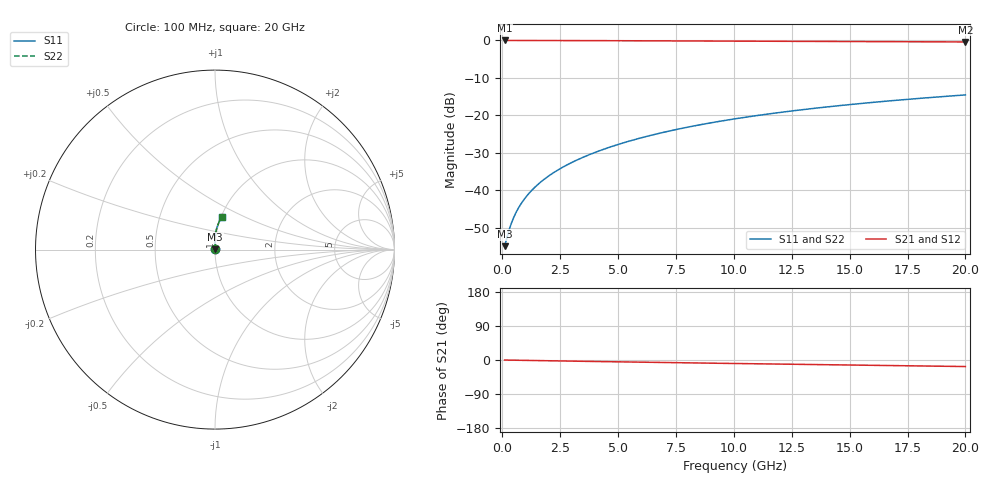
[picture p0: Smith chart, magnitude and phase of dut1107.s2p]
! Touchstone file exported from HFSS 2024.1.0
!  File:  C:/UserFiles/LocalFiles/RDL_TSV_Batchsim/temp_RDL_bottom_1107_1780054253.aedt
!  Generated:  07:33:26 PM May 29, 2026
!  Design:  RDL_bottom
!  Project:  temp_RDL_bottom_1107_1780054253
!  Setup:  Setup1
!  Solution:  Sweep
! Variables:
!  dtsv = 10.80580581um
!  hbump = 3um
!  htsv = 57.31um
!  ldown = 205.86um
!  lrdl = 100um
!  p = 40
!  p1 = 53.44um
!  rhole = 1um
!  t = 450um
!  tdown = 2.3um
!  trdl = 3.915915916um
!  wdown = 26.44um
!  wrdl = 20um
# GHz S MA R 50.000000
! Terminal data exported
! Port[1] = RDL1_T1
! Port[2] = RDL1_T2
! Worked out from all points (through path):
!   200 points, 100 MHz to 20 GHz, reference 50 ohm
!   highest |S21| = -0.01 dB at 100 MHz (marker M1); lowest = -0.4 dB at 20 GHz (marker M2)
!   group delay of S21, straight-line fit = 2.36 ps
!   lowest |S11| = -54.9 dB at 100 MHz (marker M3), VSWR 1.00, Z = 50.2 + j0.0853 ohm
!   |S11| at or under -10 dB: start of sweep to end of sweep
!   |S22| runs from -54.9 to -14.5 dB; largest |S21 - S12| = 3.1e-15
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0.1  0.001809 28.1  0.9984 -0.1  0.9984 -0.1  0.001809 28.1
! Gamma 0 0 0 0
! Port Impedance 50 0 50 0
0.3  0.003012 55.9  0.9983 -0.3  0.9983 -0.3  0.003012 55.9
0.4  0.003712 62.0  0.9982 -0.4  0.9982 -0.4  0.003712 62.0
0.5  0.004423 66.2  0.9981 -0.5  0.9981 -0.5  0.004423 66.2
0.6  0.005136 69.3  0.998 -0.6  0.998 -0.6  0.005136 69.3
0.8  0.006572 73.8  0.9978 -0.8  0.9978 -0.8  0.006572 73.8
1  0.008024 76.8  0.9976 -1.0  0.9976 -1.0  0.008024 76.8
1.2  0.009496 79.2  0.9974 -1.2  0.9974 -1.2  0.009496 79.2
1.7  0.01326 83.0  0.9969 -1.7  0.9969 -1.7  0.01326 83.0
2.2  0.01714 85.5  0.9962 -2.2  0.9962 -2.2  0.01714 85.5
2.8  0.02196 87.4  0.9952 -2.8  0.9952 -2.8  0.02196 87.4
3.5  0.02779 88.9  0.9939 -3.5  0.9939 -3.5  0.02779 88.9
4.2  0.03384 89.7  0.9924 -4.1  0.9924 -4.1  0.03384 89.7
5  0.04101 90.3  0.9905 -4.9  0.9905 -4.9  0.04102 90.3
5.9  0.04937 90.5  0.9883 -5.7  0.9883 -5.7  0.04937 90.5
6.8  0.05797 90.3  0.9861 -6.5  0.9861 -6.5  0.05797 90.3
8.4  0.07366 89.4  0.9821 -7.9  0.9821 -7.9  0.07366 89.4
10.1  0.09063 88.1  0.9778 -9.3  0.9778 -9.3  0.09064 88.1
11.7  0.1067 86.6  0.974 -10.6  0.974 -10.6  0.1067 86.6
13.4  0.1237 84.9  0.9699 -12.0  0.9699 -12.0  0.1237 84.9
16.7  0.1561 81.6  0.962 -14.6  0.962 -14.6  0.1561 81.6
20  0.1877 78.4  0.954 -17.2  0.954 -17.2  0.1877 78.4
